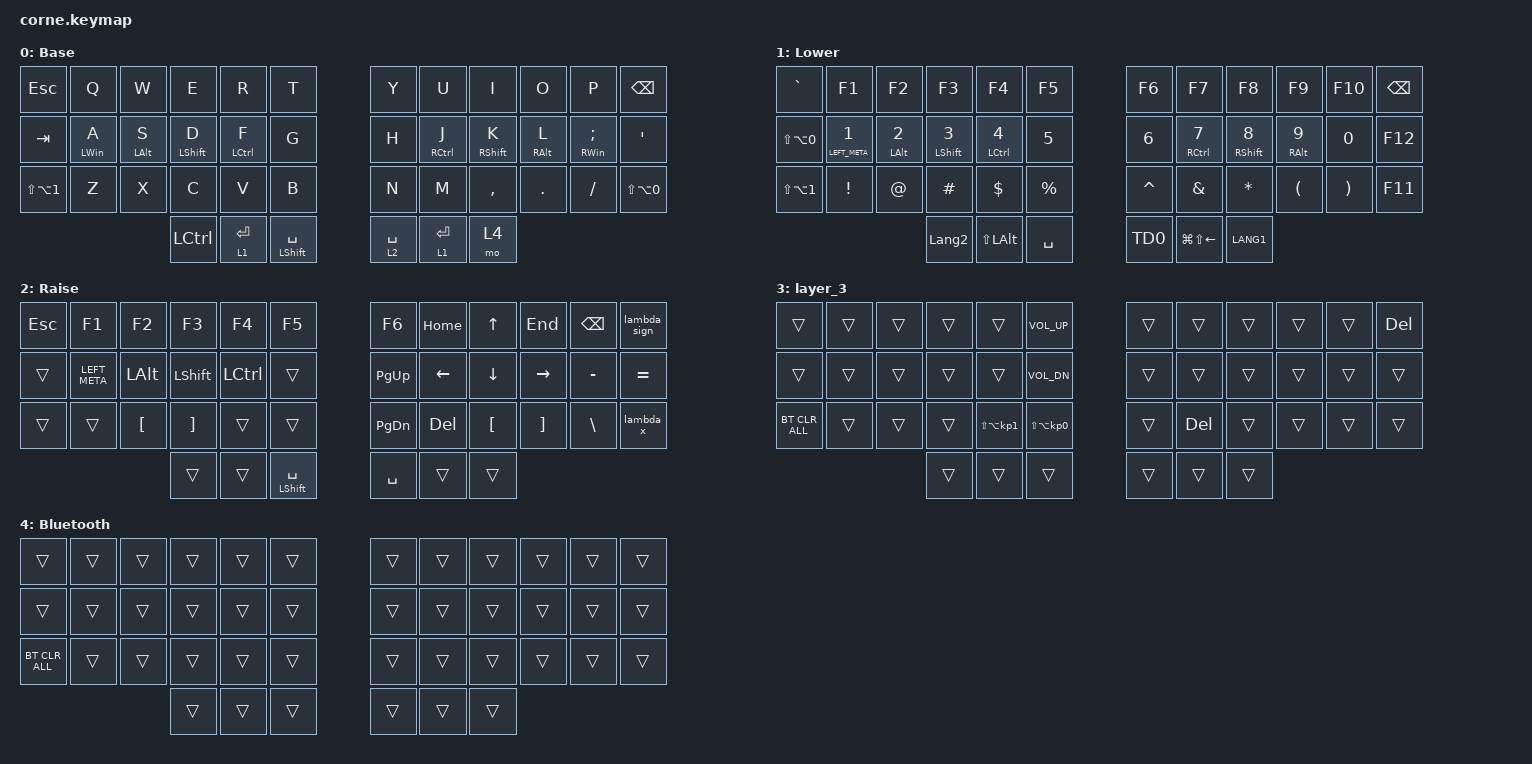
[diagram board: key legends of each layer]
/*
 * Copyright (c) 2020 The ZMK Contributors
 *
 * SPDX-License-Identifier: MIT
 */

#include <behaviors.dtsi>
#include <dt-bindings/zmk/bt.h>
#include <dt-bindings/zmk/keys.h>

/ {
    behaviors {
        HMR: HMR {
            compatible = "zmk,behavior-hold-tap";
            label = "HMR";
            bindings = <&kp>, <&kp>;

            #binding-cells = <2>;
            tapping-term-ms = <200>;
            quick-tap-ms = <60>;
            flavor = "balanced";
            hold-trigger-key-positions = <0 1 2 3 4 5 12 13 14 15 16 17 24 25 26 27 28 29 36 37 38 39 40 41>;
            require-prior-idle-ms = <30>;
            hold-trigger-on-release;
        };

        HML: HML {
            compatible = "zmk,behavior-hold-tap";
            label = "HML";
            bindings = <&kp>, <&kp>;

            #binding-cells = <2>;
            tapping-term-ms = <280>;
            quick-tap-ms = <100>;
            flavor = "balanced";
            hold-trigger-key-positions = <36 37 38 6 7 8 9 10 11 18 19 20 21 22 23 30 31 32 33 34 35 39 40 41>;
            require-prior-idle-ms = <60>;
            hold-trigger-on-release;
        };

        TD0: TD0 {
            compatible = "zmk,behavior-tap-dance";
            label = "TD0";
            #binding-cells = <0>;
            bindings = <&kp LSHIFT>, <&kp ENTER>;
        };

        HML_slow: HML_slow {
            compatible = "zmk,behavior-hold-tap";
            label = "HML_SLOW";
            bindings = <&kp>, <&kp>;

            #binding-cells = <2>;
            tapping-term-ms = <220>;
            quick-tap-ms = <120>;
            flavor = "balanced";
            hold-trigger-key-positions = <36 37 38 6 7 8 9 10 11 18 19 20 21 22 23 30 31 32 33 34 35 39 40 41>;
            require-prior-idle-ms = <120>;
            hold-trigger-on-release;
        };

        HMR_slow: HMR_slow {
            compatible = "zmk,behavior-hold-tap";
            label = "HMR_SLOW";
            bindings = <&kp>, <&kp>;

            #binding-cells = <2>;
            tapping-term-ms = <220>;
            quick-tap-ms = <120>;
            flavor = "tap-preferred";
            hold-trigger-key-positions = <0 1 2 3 4 5 12 13 14 15 16 17 24 25 26 27 28 29 36 37 38 39 40 41>;
            require-prior-idle-ms = <120>;
            hold-trigger-on-release;
        };
    };

    combos {
        compatible = "zmk,combos";

        Paste {
            bindings = <&kp LC(V)>;
            key-positions = <28 16>;
        };

        paste_enter {
            bindings = <&paste_enter>;
            key-positions = <27 28>;
        };

        copy {
            bindings = <&kp LC(C)>;
            key-positions = <27 15>;
        };

        print_screen {
            bindings = <&kp LG(LS(S))>;
            key-positions = <36 37>;
        };

        tab {
            bindings = <&kp TAB>;
            key-positions = <17 16>;
        };

        L3 {
            bindings = <&mo 3>;
            key-positions = <0 5>;
        };

        bt_clr_all {
            bindings = <&bt BT_CLR_ALL>;
            key-positions = <0 24 5>;
        };

        minus {
            bindings = <&kp MINUS>;
            key-positions = <39 22>;
        };

        equals {
            bindings = <&kp EQUAL>;
            key-positions = <39 23>;
        };
    };

    macros {
        paste_enter: new_macro {
            compatible = "zmk,behavior-macro";
            #binding-cells = <0>;
            bindings = <&kp LC(V) &kp ENTER>;
            label = "PASTE_ENTER";
        };

        lambda_sign: lambda_sign {
            compatible = "zmk,behavior-macro";
            #binding-cells = <0>;
            bindings = <&kp EQUAL &kp GT>;
            label = "LAMBDA_SIGN";
        };

        lambda_x: lambda_x {
            compatible = "zmk,behavior-macro";
            #binding-cells = <0>;
            bindings = <&kp LPAR &kp X &kp SPACE &kp EQUAL &kp GT &kp SPACE &kp X &kp DOT &kp RPAR &kp LEFT_ARROW>;
            label = "LAMBDA_X";
        };

        brackets: brackets {
            compatible = "zmk,behavior-macro";
            #binding-cells = <0>;
            bindings = <&kp LPAR &kp RPAR &kp LEFT>;
            label = "BRACKETS";
        };
    };

    keymap {
        compatible = "zmk,keymap";

        default_layer {
            // -----------------------------------------------------------------------------------------
            // |  TAB |  Q  |  W  |  E  |  R  |  T  |   |  Y  |  U   |  I  |  O  |  P  | BKSP |
            // | CTRL |  A  |  S  |  D  |  F  |  G  |   |  H  |  J   |  K  |  L  |  ;  |  '   |
            // | SHFT |  Z  |  X  |  C  |  V  |  B  |   |  N  |  M   |  ,  |  .  |  /  | ESC  |
            //                    | GUI | LWR | SPC |   | ENT | RSE  | ALT |

            display-name = "Base";
            bindings = <
&kp ESCAPE            &kp Q             &kp W                 &kp E             &kp R                &kp T               &kp Y        &kp U                 &kp I         &kp O                  &kp P                     &kp BSPC
&kp TAB               &HML_slow LWIN A  &HML_slow LEFT_ALT S  &HML LSHIFT D     &HML LEFT_CONTROL F  &kp G               &kp H        &HMR RIGHT_CONTROL J  &HMR RSHFT K  &HMR_slow RIGHT_ALT L  &HMR_slow RWIN SEMICOLON  &kp APOSTROPHE
&kp LS(LA(NUMBER_1))  &kp Z             &kp X                 &kp C             &kp V                &kp B               &kp N        &kp M                 &kp COMMA     &kp DOT                &kp FSLH                  &kp LS(LA(N0))
                                                              &kp LEFT_CONTROL  &lt 1 ENTER          &mt LSHIFT SPACE    &lt 2 SPACE  &lt 1 ENTER           &mo 4
            >;
        };

        lower_layer {
            // -----------------------------------------------------------------------------------------
            // |  TAB |  1  |  2  |  3  |  4  |  5  |   |  6  |  7  |  8  |  9  |  0  | BKSP |
            // | BTCLR| BT1 | BT2 | BT3 | BT4 | BT5 |   | LFT | DWN |  UP | RGT |     |      |
            // | SHFT |     |     |     |     |     |   |     |     |     |     |     |      |
            //                    | GUI |     | SPC |   | ENT |     | ALT |

            display-name = "Lower";
            bindings = <
&kp GRAVE             &kp F1                   &kp F2                  &kp F3                &kp F4                      &kp F5         &kp F6        &kp F7                 &kp F8               &kp F9                &kp F10                &kp BACKSPACE
&kp LS(LA(N0))        &HML LEFT_META NUMBER_1  &HML LEFT_ALT NUMBER_2  &HML LSHIFT NUMBER_3  &HML LEFT_CONTROL NUMBER_4  &kp N5         &kp NUMBER_6  &HMR RIGHT_CONTROL N7  &HMR RIGHT_SHIFT N8  &HMR RIGHT_ALT N9     &kp N0                 &kp F12
&kp LS(LA(NUMBER_1))  &kp EXCLAMATION          &kp AT_SIGN             &kp HASH              &kp DOLLAR                  &kp PERCENT    &kp CARET     &kp AMPERSAND          &kp ASTERISK         &kp LEFT_PARENTHESIS  &kp RIGHT_PARENTHESIS  &kp F11
                                                                       &kp LANGUAGE_2        &kp LS(LEFT_ALT)            &kp SPACE      &TD0          &kp LG(LS(LEFT))       &kp LANG1
            >;
        };

        SpaceFN {
            // -----------------------------------------------------------------------------------------
            // |  TAB |  !  |  @  |  #  |  $  |  %  |   |  ^  |  &  |  *  |  (  |  )  | BKSP |
            // | CTRL |     |     |     |     |     |   |  -  |  =  |  [  |  ]  |  \  |  `   |
            // | SHFT |     |     |     |     |     |   |  _  |  +  |  {  |  }  | "|" |  ~   |
            //                    | GUI |     | SPC |   | ENT |     | ALT |

            display-name = "Raise";
            bindings = <
&kp ESC  &kp F1         &kp F2            &kp F3             &kp F4            &kp F5                  &kp F6         &kp HOME    &kp UP_ARROW      &kp END            &kp BACKSPACE  &lambda_sign
&trans   &kp LEFT_META  &kp LEFT_ALT      &kp LSHIFT         &kp LEFT_CONTROL  &trans                  &kp PAGE_UP    &kp LEFT    &kp DOWN          &kp RIGHT          &kp MINUS      &kp EQUAL
&trans   &trans         &kp LEFT_BRACKET  &kp RIGHT_BRACKET  &trans            &trans                  &kp PAGE_DOWN  &kp DELETE  &kp LEFT_BRACKET  &kp RIGHT_BRACKET  &kp BACKSLASH  &lambda_x
                                          &trans             &trans            &mt LEFT_SHIFT SPACE    &kp SPACE      &trans      &trans
            >;
        };

        layer_3 {
            bindings = <
&trans          &trans  &trans  &trans  &trans                   &kp C_VOLUME_UP            &trans  &trans      &trans  &trans  &trans  &kp DELETE
&trans          &trans  &trans  &trans  &trans                   &kp C_VOL_DN               &trans  &trans      &trans  &trans  &trans  &trans
&bt BT_CLR_ALL  &trans  &trans  &trans  &kp LS(LA(KP_NUMBER_1))  &kp LS(LA(KP_NUMBER_0))    &trans  &kp DELETE  &trans  &trans  &trans  &trans
                                &trans  &trans                   &trans                     &trans  &trans      &trans
            >;
        };

        Bluetooth {
            bindings = <
&trans          &trans  &trans  &trans  &trans  &trans    &trans  &trans  &trans  &trans  &trans  &trans
&trans          &trans  &trans  &trans  &trans  &trans    &trans  &trans  &trans  &trans  &trans  &trans
&bt BT_CLR_ALL  &trans  &trans  &trans  &trans  &trans    &trans  &trans  &trans  &trans  &trans  &trans
                                &trans  &trans  &trans    &trans  &trans  &trans
            >;
        };
    };
};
